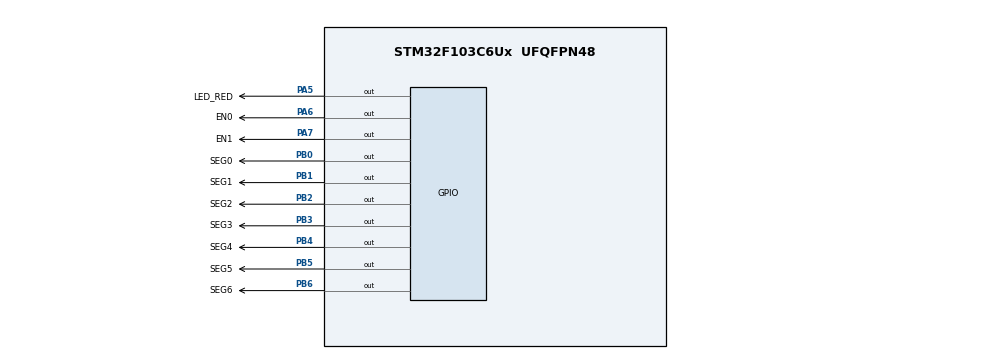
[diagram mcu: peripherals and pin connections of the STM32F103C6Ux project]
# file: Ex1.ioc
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Mcu.Family=STM32F1
Mcu.Name=STM32F103C6Ux
Mcu.Package=UFQFPN48
NVIC.PriorityGroup=NVIC_PRIORITYGROUP_4
NVIC.TIM2_IRQn=true\:0\:0\:false\:false\:true\:true\:true
PA5.GPIO_Label=LED_RED
PA5.Signal=GPIO_Output
PA6.GPIO_Label=EN0
PA6.Signal=GPIO_Output
PA7.GPIO_Label=EN1
PA7.Signal=GPIO_Output
PB0.GPIO_Label=SEG0
PB0.Signal=GPIO_Output
PB1.GPIO_Label=SEG1
PB1.Signal=GPIO_Output
PB2.GPIO_Label=SEG2
PB2.Signal=GPIO_Output
PB3.GPIO_Label=SEG3
PB3.Signal=GPIO_Output
PB4.GPIO_Label=SEG4
PB4.Signal=GPIO_Output
PB5.GPIO_Label=SEG5
PB5.Signal=GPIO_Output
PB6.GPIO_Label=SEG6
PB6.Signal=GPIO_Output
ProjectManager.HeapSize=0x200
ProjectManager.StackSize=0x400
ProjectManager.TargetToolchain=STM32CubeIDE
RCC.APB1Freq_Value=8000000
RCC.APB2Freq_Value=8000000
TIM2.Period=9
TIM2.Prescaler=7999
VP_SYS_VS_ND.Mode=No_Debug
VP_TIM2_VS_ClockSourceINT.Mode=Internal
board=custom

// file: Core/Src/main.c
/* USER CODE BEGIN Header */
/**
  ******************************************************************************
  * @file           : main.c
  * @brief          : Main program body
  ******************************************************************************
  * @attention
  *
  * <h2><center>&copy; Copyright (c) 2023 STMicroelectronics.
  * All rights reserved.</center></h2>
  *
  * This software component is licensed by ST under BSD 3-Clause license,
  * the "License"; You may not use this file except in compliance with the
  * License. You may obtain a copy of the License at:
  *                        opensource.org/licenses/BSD-3-Clause
  *
  ******************************************************************************
  */
/* USER CODE END Header */
#include "main.h"

TIM_HandleTypeDef htim2;

void SystemClock_Config(void);
static void MX_TIM2_Init(void);
static void MX_GPIO_Init(void);

int main(void)
{

  /* MCU Configuration--------------------------------------------------------*/

  /* Reset of all peripherals, Initializes the Flash interface and the Systick. */
  HAL_Init();

  /* Configure the system clock */
  SystemClock_Config();

  /* Initialize all configured peripherals */
  MX_TIM2_Init();
  MX_GPIO_Init();
  /* USER CODE BEGIN 2 */
  HAL_TIM_Base_Start_IT(&htim2);
  /* USER CODE END 2 */

  /* Infinite loop */
  while (1)
  {

  }
}

void SystemClock_Config(void)
{
  RCC_OscInitTypeDef RCC_OscInitStruct = {0};
  RCC_ClkInitTypeDef RCC_ClkInitStruct = {0};

  /** Initializes the RCC Oscillators according to the specified parameters
  * in the RCC_OscInitTypeDef structure.
  */
  RCC_OscInitStruct.OscillatorType = RCC_OSCILLATORTYPE_HSI;
  RCC_OscInitStruct.HSIState = RCC_HSI_ON;
  RCC_OscInitStruct.HSICalibrationValue = RCC_HSICALIBRATION_DEFAULT;
  RCC_OscInitStruct.PLL.PLLState = RCC_PLL_NONE;
  if (HAL_RCC_OscConfig(&RCC_OscInitStruct) != HAL_OK)
  {
    Error_Handler();
  }
  /** Initializes the CPU, AHB and APB buses clocks
  */
  RCC_ClkInitStruct.ClockType = RCC_CLOCKTYPE_HCLK|RCC_CLOCKTYPE_SYSCLK
                              |RCC_CLOCKTYPE_PCLK1|RCC_CLOCKTYPE_PCLK2;
  RCC_ClkInitStruct.SYSCLKSource = RCC_SYSCLKSOURCE_HSI;
  RCC_ClkInitStruct.AHBCLKDivider = RCC_SYSCLK_DIV1;
  RCC_ClkInitStruct.APB1CLKDivider = RCC_HCLK_DIV1;
  RCC_ClkInitStruct.APB2CLKDivider = RCC_HCLK_DIV1;

  if (HAL_RCC_ClockConfig(&RCC_ClkInitStruct, FLASH_LATENCY_0) != HAL_OK)
  {
    Error_Handler();
  }
}

static void MX_TIM2_Init(void)
{

  TIM_ClockConfigTypeDef sClockSourceConfig = {0};
  TIM_MasterConfigTypeDef sMasterConfig = {0};

  htim2.Instance = TIM2;
  htim2.Init.Prescaler = 7999;
  htim2.Init.CounterMode = TIM_COUNTERMODE_UP;
  htim2.Init.Period = 9;
  htim2.Init.ClockDivision = TIM_CLOCKDIVISION_DIV1;
  htim2.Init.AutoReloadPreload = TIM_AUTORELOAD_PRELOAD_DISABLE;
  if (HAL_TIM_Base_Init(&htim2) != HAL_OK)
  {
    Error_Handler();
  }
  sClockSourceConfig.ClockSource = TIM_CLOCKSOURCE_INTERNAL;
  if (HAL_TIM_ConfigClockSource(&htim2, &sClockSourceConfig) != HAL_OK)
  {
    Error_Handler();
  }
  sMasterConfig.MasterOutputTrigger = TIM_TRGO_RESET;
  sMasterConfig.MasterSlaveMode = TIM_MASTERSLAVEMODE_DISABLE;
  if (HAL_TIMEx_MasterConfigSynchronization(&htim2, &sMasterConfig) != HAL_OK)
  {
    Error_Handler();
  }

}

static void MX_GPIO_Init(void)
{
  GPIO_InitTypeDef GPIO_InitStruct = {0};

  /* GPIO Ports Clock Enable */
  __HAL_RCC_GPIOA_CLK_ENABLE();
  __HAL_RCC_GPIOB_CLK_ENABLE();

  /*Configure GPIO pin Output Level */
  HAL_GPIO_WritePin(GPIOA, LED_RED_Pin|EN0_Pin|EN1_Pin, GPIO_PIN_RESET);

  /*Configure GPIO pin Output Level */
  HAL_GPIO_WritePin(GPIOB, SEG0_Pin|SEG1_Pin|SEG2_Pin|SEG3_Pin
                          |SEG4_Pin|SEG5_Pin|SEG6_Pin, GPIO_PIN_RESET);

  /*Configure GPIO pins : LED_RED_Pin EN0_Pin EN1_Pin */
  GPIO_InitStruct.Pin = LED_RED_Pin|EN0_Pin|EN1_Pin;
  GPIO_InitStruct.Mode = GPIO_MODE_OUTPUT_PP;
  GPIO_InitStruct.Pull = GPIO_NOPULL;
  GPIO_InitStruct.Speed = GPIO_SPEED_FREQ_LOW;
  HAL_GPIO_Init(GPIOA, &GPIO_InitStruct);

  /*Configure GPIO pins : SEG0_Pin SEG1_Pin SEG2_Pin SEG3_Pin
                           SEG4_Pin SEG5_Pin SEG6_Pin */
  GPIO_InitStruct.Pin = SEG0_Pin|SEG1_Pin|SEG2_Pin|SEG3_Pin
                          |SEG4_Pin|SEG5_Pin|SEG6_Pin;
  GPIO_InitStruct.Mode = GPIO_MODE_OUTPUT_PP;
  GPIO_InitStruct.Pull = GPIO_NOPULL;
  GPIO_InitStruct.Speed = GPIO_SPEED_FREQ_LOW;
  HAL_GPIO_Init(GPIOB, &GPIO_InitStruct);

}

/* USER CODE BEGIN 4 */
void clear7SEG(){
	HAL_GPIO_WritePin(GPIOB, SEG0_Pin | SEG1_Pin | SEG2_Pin |
			SEG3_Pin | SEG4_Pin | SEG5_Pin | SEG6_Pin, 1);
}
void display7SEG(int num){
	switch(num){
	case 1:
		HAL_GPIO_WritePin ( SEG0_GPIO_Port , SEG0_Pin , GPIO_PIN_SET );
		HAL_GPIO_WritePin ( SEG1_GPIO_Port , SEG1_Pin , GPIO_PIN_RESET );
		HAL_GPIO_WritePin ( SEG2_GPIO_Port , SEG2_Pin , GPIO_PIN_RESET );
		HAL_GPIO_WritePin ( SEG3_GPIO_Port , SEG3_Pin , GPIO_PIN_SET );
		HAL_GPIO_WritePin ( SEG4_GPIO_Port , SEG4_Pin , GPIO_PIN_SET );
		HAL_GPIO_WritePin ( SEG5_GPIO_Port , SEG5_Pin , GPIO_PIN_SET );
		HAL_GPIO_WritePin ( SEG6_GPIO_Port , SEG6_Pin , GPIO_PIN_SET );
		break;
	case 2:
		HAL_GPIO_WritePin ( SEG0_GPIO_Port , SEG0_Pin , GPIO_PIN_RESET );
		HAL_GPIO_WritePin ( SEG1_GPIO_Port , SEG1_Pin , GPIO_PIN_RESET );
		HAL_GPIO_WritePin ( SEG2_GPIO_Port , SEG2_Pin , GPIO_PIN_SET );
		HAL_GPIO_WritePin ( SEG3_GPIO_Port , SEG3_Pin , GPIO_PIN_RESET );
		HAL_GPIO_WritePin ( SEG4_GPIO_Port , SEG4_Pin , GPIO_PIN_RESET );
		HAL_GPIO_WritePin ( SEG5_GPIO_Port , SEG5_Pin , GPIO_PIN_SET );
		HAL_GPIO_WritePin ( SEG6_GPIO_Port , SEG6_Pin , GPIO_PIN_RESET );
		break;
	}
}
int switchLed = 0;
void changeLed()
{
  switch (switchLed) {
	case 0:
	  switchLed = 1;
	  HAL_GPIO_WritePin ( EN0_GPIO_Port , EN0_Pin ,GPIO_PIN_RESET );
	  HAL_GPIO_WritePin ( EN1_GPIO_Port , EN1_Pin ,GPIO_PIN_SET );
	  display7SEG(1);
	  break;
	case 1:
	  switchLed = 0;
	  HAL_GPIO_WritePin ( EN0_GPIO_Port , EN0_Pin ,GPIO_PIN_SET );
	  HAL_GPIO_WritePin ( EN1_GPIO_Port , EN1_Pin ,GPIO_PIN_RESET );
	  display7SEG(2);
	  break;
	default:
	  break;
}
}
int seg_counter = 50;
int led_counter = 100;
void HAL_TIM_PeriodElapsedCallback(TIM_HandleTypeDef *htim){
	if(seg_counter > 0){
		seg_counter--;
		if(seg_counter <= 0){
			changeLed();
			seg_counter = 50;
		}
	}
	if(led_counter > 0){
		led_counter--;
		if(led_counter <= 0){
			HAL_GPIO_TogglePin(LED_RED_GPIO_Port, LED_RED_Pin);
			led_counter = 100;
		}
	}
}
/* USER CODE END 4 */

void Error_Handler(void)
{
  __disable_irq();
  while (1)
  {
  }
}

/************************ (C) COPYRIGHT STMicroelectronics *****END OF FILE****/
